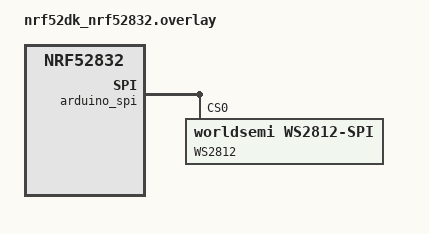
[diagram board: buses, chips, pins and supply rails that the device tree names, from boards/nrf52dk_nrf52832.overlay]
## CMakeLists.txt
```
# SPDX-License-Identifier: Apache-2.0

cmake_minimum_required(VERSION 3.13.1)
find_package(Zephyr HINTS $ENV{ZEPHYR_BASE})
project(mix)

FILE(GLOB app_sources src/*.c)
target_sources(app PRIVATE ${app_sources})
```

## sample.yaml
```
sample:
  name: Mix
tests:
  sample.mix:
    platform_whitelist: bbc_microbit nrf51dk_nrf51422 nrf52dk_nrf52832
    depends_on: pwm
    harness: motor
    filter: dt_alias_exists("pwm-led0")
```

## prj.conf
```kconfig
CONFIG_STDOUT_CONSOLE=y
CONFIG_PRINTK=y
CONFIG_PWM=y
CONFIG_LOG=n
CONFIG_PWM_LOG_LEVEL_DBG=n
CONFIG_LED_STRIP=y
CONFIG_LED_STRIP_LOG_LEVEL_DBG=y
CONFIG_WS2812_STRIP=y
```

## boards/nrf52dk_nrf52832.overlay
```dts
#include "../nrf52-bindings.h"

&arduino_spi { /* MOSI on D11 / P0.23 */
      led_strip: ws2812@0 {
              compatible = "worldsemi,ws2812-spi";
              label = "WS2812";

              /* SPI */
              reg = <0>; /* ignored, but necessary for SPI bindings */
              spi-max-frequency = <SPI_FREQ>;

              /* WS2812 */
              chain-length = <30>; /* arbitrary; change at will */
              spi-one-frame = <ONE_FRAME>;
              spi-zero-frame = <ZERO_FRAME>;
      };
};

/ {
        aliases {
                servo-pwm = &pwm0;
                led-strip = &led_strip;
        };
};
```

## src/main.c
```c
#include <zephyr.h>
#include <sys/printk.h>
#include "servo.h"
#include "led.h"

#define DELAY_TIME       K_MSEC(16)

void main(void)
{

    k_sleep(K_SECONDS(1));

    servo_init();
    led_strip_init();

    for(;;) {
        do_servo();
        do_led_strip();
        k_sleep(DELAY_TIME);
    }
}
```

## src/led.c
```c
#include <zephyr.h>
#include <sys/printk.h>
#include <device.h>
#include <drivers/led_strip.h>
#include <device.h>
#include <drivers/spi.h>
#include <sys/util.h>
#include <logging/log.h>

LOG_MODULE_REGISTER(main);
#define LOG_LEVEL 4
#define STRIP_ALIAS      DT_ALIAS(led_strip)
#define STRIP_LABEL      DT_LABEL(STRIP_ALIAS)
#define STRIP_NUM_PIXELS DT_PROP(STRIP_ALIAS, chain_length)

#define RGB(_r, _g, _b) { .r = (_r), .g = (_g), .b = (_b) }

struct device * strip;

void led_strip_init(void)
{
    strip = device_get_binding(STRIP_LABEL);
    if (strip)
    {
        printk("Found LED strip device %s\n", STRIP_LABEL);
    }
    else
    {
        printk("Device %s not found\n", STRIP_LABEL);
    }
}

void do_led_strip(void)
{
    const struct led_rgb colors[] = {
        RGB(0x0f, 0x00, 0x00), /* red */
        RGB(0x00, 0x0f, 0x00), /* green */
        RGB(0x00, 0x00, 0x0f), /* blue */
        RGB(0x0f, 0x0f, 0x00), /* yellow */
        RGB(0x00, 0x0f, 0x0f), /* cyan */
        RGB(0x0f, 0x00, 0x0f), /* magenta */
        RGB(0x00, 0x0f, 0x0f), /* cyan */
        RGB(0x0f, 0x0f, 0x00), /* yellow */
        RGB(0x00, 0x00, 0x0f), /* blue */
        RGB(0x00, 0x0f, 0x00), /* green */
    };

    static struct led_rgb pixels[STRIP_NUM_PIXELS];
    static size_t cursor = 0;
    static size_t color = 0;
    int rc = 0;

    memcpy(&pixels[cursor], &colors[color], sizeof(struct led_rgb));
    rc = led_strip_update_rgb(strip, pixels, STRIP_NUM_PIXELS);

    if (rc)
    {
        LOG_ERR("couldn't update strip: %d", rc);
    }

    cursor++;
    if (cursor >= STRIP_NUM_PIXELS)
    {
        cursor = 0;
        color++;
        if (color == ARRAY_SIZE(colors))
        {
            color = 0;
        }
    }
}
```

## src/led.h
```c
#ifndef _LED_H
#define _LED_H

void led_strip_init(void);
void do_led_strip(void);

#endif /* _LED_H */
```

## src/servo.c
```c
#include <zephyr.h>
#include <drivers/pwm.h>
#include <sys/printk.h>

#define UP              0U
#define DOWN            1U
#define PERIOD_USEC	(20U * USEC_PER_MSEC)
#define STEP_USEC	16
#define MIN_PULSE_USEC	2500
#define MAX_PULSE_USEC	5000

#define PWM_ALIAS        DT_ALIAS(servo_pwm)
#define PWM_LABEL        DT_LABEL(PWM_ALIAS)
#define PWM_CHANNEL      DT_PROP(PWM_ALIAS, ch0_pin)

struct device *pwm;

void servo_init(void)
{
    pwm = device_get_binding(PWM_LABEL);
    if (pwm)
    {
        printk("Found PWM device %s\n", PWM_LABEL);
    }
    else
    {
        printk("Device %s not found\n", PWM_LABEL);
    }
}

void do_servo(void)
{
    static u8_t dir = 0U;
    static u32_t pulse_width = MIN_PULSE_USEC;
    int ret = pwm_pin_set_usec(pwm, PWM_CHANNEL, 16000, pulse_width, 0);

    if (ret) {
        printk("Error %d: failed to set pulse width\n", ret);
        return;
    }

    if (dir) {
        if (pulse_width <= MIN_PULSE_USEC) {
            dir = UP;
            printk("Up\n");
            pulse_width = MIN_PULSE_USEC;
        } else {
            pulse_width -= STEP_USEC;
        }
    } else {
        pulse_width += STEP_USEC;

        if (pulse_width >= MAX_PULSE_USEC) {
            dir = DOWN;
            printk("Down\n");
            pulse_width = MAX_PULSE_USEC;
        }
    }
}
```

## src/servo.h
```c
#ifndef _SERVO_H
#define _SERVO_H

void servo_init(void);
void do_servo(void);

#endif /* _SERVO_H */
```
